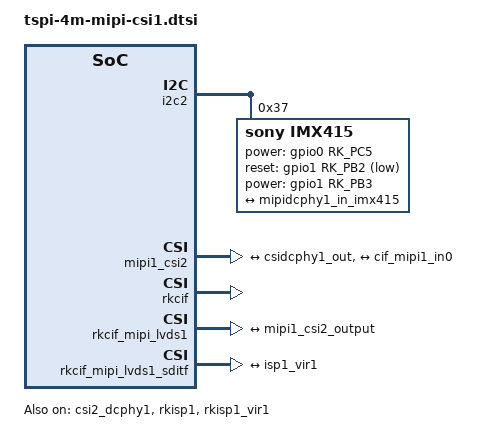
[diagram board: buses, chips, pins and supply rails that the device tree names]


&i2c2 {
    status = "okay";
    pinctrl-0 = <&i2c2m4_xfer>;
	imx415@37 {
		compatible = "sony,imx415";
		status = "okay";
		reg = <0x37>;
		clocks = <&cru CLK_MIPI_CAMARAOUT_M2>;
		clock-names = "xvclk";
		pinctrl-names = "default";
		pinctrl-0 = <&mipim0_camera2_clk>;
		power-domains = <&power RK3588_PD_VI>;

		rockchip,power-gpios = <&gpio0 RK_PC5 GPIO_ACTIVE_HIGH>;
		reset-gpios = <&gpio1 RK_PB2 GPIO_ACTIVE_LOW>;
		power-gpios = <&gpio1 RK_PB3 GPIO_ACTIVE_HIGH>;


		rockchip,camera-module-index = <3>;
		rockchip,camera-module-facing = "back";
		//rockchip,camera-module-facing = "front";
		rockchip,camera-module-name = "CMK-OT2022-PX1";
		rockchip,camera-module-lens-name = "IR0147-50IRC-8M-F20";
		port {
			imx415_out1: endpoint {
				remote-endpoint = <&mipidcphy1_in_imx415>;
				data-lanes = <1 2 3 4>;
			};
		};
	};

};

&csi2_dcphy1 {
	status = "okay";

	ports {
		#address-cells = <1>;
		#size-cells = <0>;
		port@0 {
			reg = <0>;
			#address-cells = <1>;
			#size-cells = <0>;

			mipidcphy1_in_imx415: endpoint@1 {
				reg = <1>;
				remote-endpoint = <&imx415_out1>;
				data-lanes = <1 2 3 4>;
			};
		};
		port@1 {
			reg = <1>;
			#address-cells = <1>;
			#size-cells = <0>;

			csidcphy1_out: endpoint@0 {
				reg = <0>;
				remote-endpoint = <&mipi1_csi2_input>;
			};
		};
	};
};

&mipi1_csi2 {
	status = "okay";

	ports {
		#address-cells = <1>;
		#size-cells = <0>;

		port@0 {
			reg = <0>;
			#address-cells = <1>;
			#size-cells = <0>;

			mipi1_csi2_input: endpoint@1 {
				reg = <1>;
				remote-endpoint = <&csidcphy1_out>;
			};
		};

		port@1 {
			reg = <1>;
			#address-cells = <1>;
			#size-cells = <0>;

			mipi1_csi2_output: endpoint@0 {
				reg = <0>;
				remote-endpoint = <&cif_mipi1_in0>;
			};
		};
	};
};


&rkcif {
	status = "okay";
};

&rkcif_mipi_lvds1 {
	status = "okay";

	port {
		cif_mipi1_in0: endpoint {
			remote-endpoint = <&mipi1_csi2_output>;
		};
	};
};

&rkcif_mipi_lvds1_sditf {
	status = "okay";

	port {
		mipi_lvds1_sditf: endpoint {
			remote-endpoint = <&isp1_vir1>;
		};
	};
};

&rkcif_mmu {
	status = "okay";
};

&rkisp1 {
	status = "okay";
};

&isp1_mmu {
	status = "okay";
};

&rkisp1_vir1 {
	status = "okay";

	port {
		#address-cells = <1>;
		#size-cells = <0>;

		isp1_vir1: endpoint@0 {
			reg = <0>;
			remote-endpoint = <&mipi_lvds1_sditf>;
		};
	};
};
